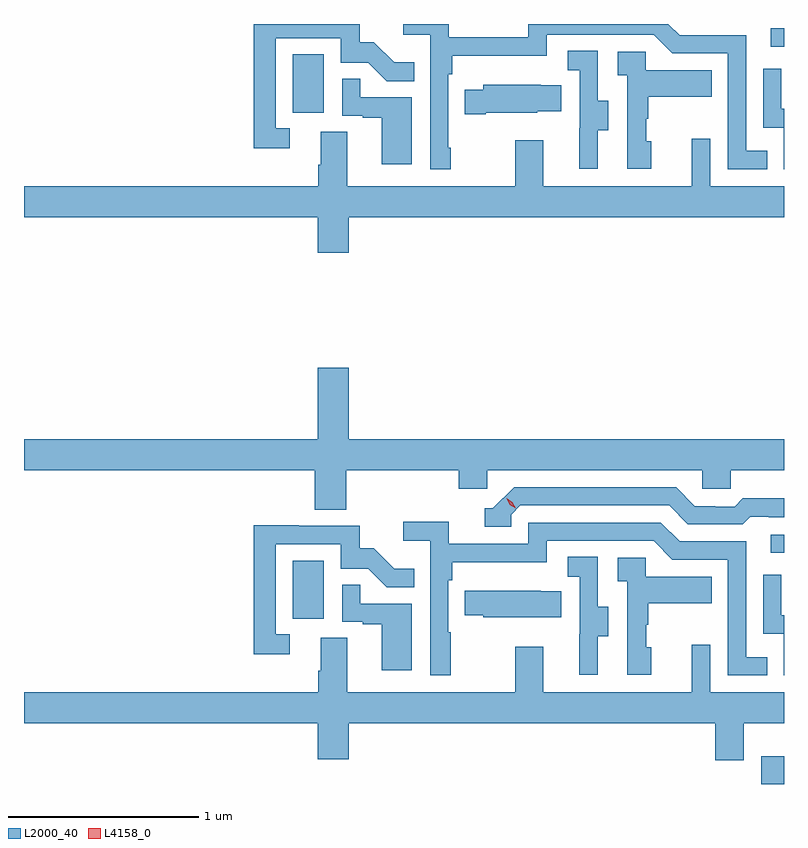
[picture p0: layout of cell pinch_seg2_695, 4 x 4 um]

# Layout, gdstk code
import gdstk
lib = gdstk.Library(unit=1e-6, precision=1e-09)
def R(c, l, rs):  # rectangles x0, y0, x1, y1
    for r in rs: c.add(gdstk.rectangle(r[:2], r[2:], *l))
def P(c, l, *ps):  # polygons
    for p in ps: c.add(gdstk.Polygon(p, *l))
L2000_40 = (2000, 40)
L4158_0 = (4158, 0)

pinch_seg2_695 = lib.new_cell('pinch_seg2_695')
R(pinch_seg2_695, L2000_40, [(1144.364,587.377,1144.484,587.524), (1141.898,588.246,1142.062,588.553), (1144.413,588.594,1144.484,588.69), (1141.898,590.91,1142.062,591.217), (1144.413,591.258,1144.484,591.354)])
P(pinch_seg2_695, L2000_40, [(1142.731,590.725),(1142.718,590.725),(1142.718,591.113),(1142.738,591.113),(1142.738,591.209),(1143.234,591.209),(1143.234,591.321),(1143.798,591.321),(1143.897,591.222),(1144.188,591.222),(1144.188,590.613),(1144.397,590.613),(1144.397,590.709),(1144.284,590.709),(1144.284,591.318),(1143.934,591.318),(1143.875,591.377),(1143.138,591.377),(1143.138,591.306),(1142.72,591.306),(1142.72,591.377),(1142.481,591.377),(1142.481,591.32),(1142.622,591.32),(1142.622,590.613),(1142.731,590.613)],
  [(1141.882,590.829),(1141.809,590.829),(1141.809,591.303),(1142.151,591.303),(1142.151,591.174),(1142.295,591.174),(1142.393,591.076),(1142.537,591.076),(1142.537,591.175),(1142.433,591.175),(1142.326,591.282),(1142.25,591.282),(1142.25,591.377),(1141.693,591.377),(1141.693,590.724),(1141.882,590.724)],
  [(1143.505,590.818),(1143.559,590.818),(1143.559,590.973),(1143.504,590.973),(1143.504,591.236),(1143.345,591.236),(1143.345,591.133),(1143.408,591.133),(1143.408,590.829),(1143.407,590.829),(1143.407,590.616),(1143.505,590.616)],
  [(1143.784,590.76),(1143.759,590.76),(1143.759,590.879),(1143.769,590.879),(1143.769,590.993),(1144.103,590.993),(1144.103,591.133),(1143.756,591.133),(1143.756,591.231),(1143.609,591.231),(1143.609,591.107),(1143.66,591.107),(1143.66,590.616),(1143.784,590.616)],
  [(1144.484,590.93),(1144.47,590.93),(1144.47,591.142),(1144.374,591.142),(1144.374,590.832),(1144.482,590.832),(1144.482,590.613),(1144.484,590.613)],
  [(1142.524,590.991),(1142.255,590.991),(1142.255,591.089),(1142.16,591.089),(1142.16,590.895),(1142.267,590.895),(1142.267,590.883),(1142.366,590.883),(1142.366,590.64),(1142.524,590.64)],
  [(1142.914,590.909),(1143.186,590.909),(1143.186,590.918),(1143.311,590.918),(1143.311,591.055),(1143.203,591.055),(1143.203,591.058),(1142.901,591.058),(1142.901,591.031),(1142.803,591.031),(1142.803,590.902),(1142.914,590.902)],
  [(1142.194,590.36),(1144.484,590.36),(1144.484,590.524),(1144.095,590.524),(1144.095,590.773),(1143.998,590.773),(1143.998,590.524),(1143.217,590.524),(1143.217,590.764),(1143.07,590.764),(1143.07,590.524),(1142.185,590.524),(1142.185,590.81),(1142.045,590.81),(1142.045,590.636),(1142.033,590.636),(1142.033,590.524),(1140.484,590.524),(1140.484,590.36),(1142.03,590.36),(1142.03,590.172),(1142.194,590.172)],
  [(1142.18,589.028),(1142.771,589.028),(1142.771,588.93),(1142.922,588.93),(1142.922,589.028),(1144.053,589.028),(1144.053,588.93),(1144.203,588.93),(1144.203,589.028),(1144.484,589.028),(1144.484,589.192),(1142.194,589.192),(1142.194,589.567),(1142.03,589.567),(1142.03,589.192),(1140.484,589.192),(1140.484,589.028),(1142.015,589.028),(1142.015,588.82),(1142.18,588.82)],
  [(1143.048,588.795),(1143.096,588.843),(1143.879,588.843),(1143.978,588.744),(1144.267,588.744),(1144.306,588.783),(1144.405,588.783),(1144.405,588.78),(1144.484,588.78),(1144.484,588.88),(1144.267,588.88),(1144.225,588.837),(1144.122,588.837),(1144.122,588.84),(1144.015,588.84),(1143.916,588.939),(1143.063,588.939),(1142.952,588.828),(1142.909,588.828),(1142.909,588.732),(1143.048,588.732)],
  [(1142.731,588.176),(1142.718,588.176),(1142.718,588.449),(1142.738,588.449),(1142.738,588.545),(1143.234,588.545),(1143.234,588.657),(1143.798,588.657),(1143.897,588.558),(1144.188,588.558),(1144.188,587.949),(1144.397,587.949),(1144.397,588.045),(1144.284,588.045),(1144.284,588.654),(1143.934,588.654),(1143.835,588.753),(1143.138,588.753),(1143.138,588.642),(1142.72,588.642),(1142.72,588.758),(1142.481,588.758),(1142.481,588.656),(1142.622,588.656),(1142.622,587.949),(1142.731,587.949)],
  [(1141.882,588.165),(1141.809,588.165),(1141.809,588.639),(1142.151,588.639),(1142.151,588.51),(1142.295,588.51),(1142.393,588.412),(1142.537,588.412),(1142.537,588.511),(1142.433,588.511),(1142.326,588.618),(1142.25,588.618),(1142.25,588.735),(1141.931,588.735),(1141.931,588.74),(1141.693,588.74),(1141.693,588.06),(1141.882,588.06)],
  [(1143.505,588.154),(1143.559,588.154),(1143.559,588.309),(1143.504,588.309),(1143.504,588.572),(1143.345,588.572),(1143.345,588.469),(1143.408,588.469),(1143.408,588.165),(1143.407,588.165),(1143.407,587.952),(1143.505,587.952)],
  [(1143.784,588.096),(1143.759,588.096),(1143.759,588.215),(1143.769,588.215),(1143.769,588.329),(1144.103,588.329),(1144.103,588.469),(1143.756,588.469),(1143.756,588.567),(1143.609,588.567),(1143.609,588.443),(1143.66,588.443),(1143.66,587.952),(1143.784,587.952)],
  [(1144.484,588.266),(1144.47,588.266),(1144.47,588.478),(1144.374,588.478),(1144.374,588.168),(1144.482,588.168),(1144.482,587.949),(1144.484,587.949)],
  [(1142.524,588.327),(1142.255,588.327),(1142.255,588.425),(1142.16,588.425),(1142.16,588.231),(1142.267,588.231),(1142.267,588.219),(1142.366,588.219),(1142.366,587.976),(1142.524,587.976)],
  [(1143.311,588.391),(1143.203,588.391),(1143.203,588.394),(1142.803,588.394),(1142.803,588.265),(1142.901,588.265),(1142.901,588.254),(1143.311,588.254)],
  [(1144.273,587.696),(1144.484,587.696),(1144.484,587.86),(1144.095,587.86),(1144.095,588.109),(1143.998,588.109),(1143.998,587.86),(1143.217,587.86),(1143.217,588.1),(1143.07,588.1),(1143.07,587.86),(1142.185,587.86),(1142.185,588.146),(1142.045,588.146),(1142.045,587.972),(1142.033,587.972),(1142.033,587.86),(1140.484,587.86),(1140.484,587.696),(1142.03,587.696),(1142.03,587.508),(1142.194,587.508),(1142.194,587.696),(1144.121,587.696),(1144.121,587.502),(1144.273,587.502)])
P(pinch_seg2_695, L4158_0, [(1143.071,588.828),(1143.04,588.848),(1143.024,588.88),(1143.024,588.881),(1143.025,588.881),(1143.055,588.861),(1143.072,588.829),(1143.072,588.828)])

lib.write_gds('pinch_seg2_695.gds')
